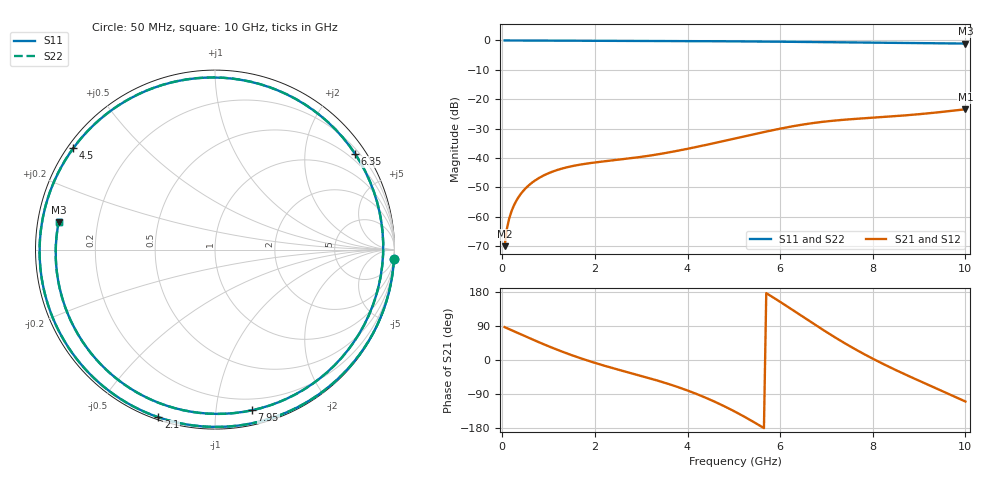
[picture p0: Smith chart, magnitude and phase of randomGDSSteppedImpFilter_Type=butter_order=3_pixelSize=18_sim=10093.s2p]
! freq	dB(S11)	phase(S11)	dB(S12)	phase(S12)
!  dB(S21)	phase(S21)	dB(S22)	phase(S22)
!S-par simulation data
#  GHz  S  DB  R 50
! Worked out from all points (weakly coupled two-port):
!   200 points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, 50 MHz to 10 GHz, reference 50 ohm
!   highest |S21| = -23.45 dB at 10 GHz (marker M1); lowest = -70.1 dB at 50 MHz (marker M2)
!   lowest |S11| = -1.1 dB at 10 GHz (marker M3), VSWR 16.28, Z = 3.09 + j4.29 ohm
!   |S11| at or under -10 dB: nowhere
!   |S22| runs from -1.1 to 0.0 dB; largest |S21 - S12| = 0
!   S11 on the Smith chart (normalised r, x): 50 MHz: 1, -40; 2.1 GHz: 0.01, -0.72; 4.5 GHz: 0.02, +0.32; 6.35 GHz: 0.32, +3.21; 7.95 GHz: 0.11, -1.25; 10 GHz: 0.06, +0.09
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0.05  -0.01 -2.8  -70.08 86.8  -70.08 86.8  -0.01 -2.8
0.1  -0.01 -5.6  -64.11 84.0  -64.11 84.0  -0.01 -5.6
0.2  -0.02 -11.2  -58.15 78.6  -58.15 78.6  -0.02 -11.2
0.5  -0.03 -27.8  -50.44 62.3  -50.44 62.3  -0.03 -27.8
1.15  -0.08 -62.5  -44.32 28.8  -44.32 28.8  -0.07 -62.5
1.75  -0.11 -92.2  -42.12 2.2  -42.12 2.2  -0.11 -92.2
2.1  -0.12 -108.6  -41.37 -11.3  -41.37 -11.3  -0.12 -108.6
2.8  -0.15 -139.8  -40.08 -35.3  -40.08 -35.3  -0.15 -139.8
3.4  -0.18 -165.8  -38.69 -56.1  -38.69 -56.1  -0.18 -165.8
3.95  -0.22 170.0  -37.08 -78.3  -37.08 -78.3  -0.21 170.0
4.5  -0.26 144.3  -35.25 -105.3  -35.25 -105.3  -0.25 144.3
5.05  -0.31 116.1  -33.32 -137.9  -33.32 -137.9  -0.31 116.0
5.7  -0.39 78.0  -31.04 176.5  -31.04 176.5  -0.39 77.9
6  -0.43 58.4  -30.06 153.4  -30.06 153.4  -0.43 58.3
6.35  -0.49 34.3  -29.02 125.5  -29.02 125.5  -0.48 34.2
6.7  -0.54 9.3  -28.17 97.4  -28.17 97.4  -0.54 9.2
7.25  -0.63 -30.2  -27.19 54.9  -27.19 54.9  -0.63 -30.3
7.6  -0.68 -54.3  -26.75 29.8  -26.75 29.8  -0.68 -54.4
7.95  -0.74 -77.0  -26.37 6.6  -26.37 6.6  -0.73 -77.2
8.35  -0.80 -101.3  -25.95 -17.9  -25.95 -17.9  -0.80 -101.5
9.2  -0.94 -148.1  -24.83 -65.6  -24.83 -65.6  -0.94 -148.3
10  -1.07 170.1  -23.45 -109.5  -23.45 -109.5  -1.07 169.9
